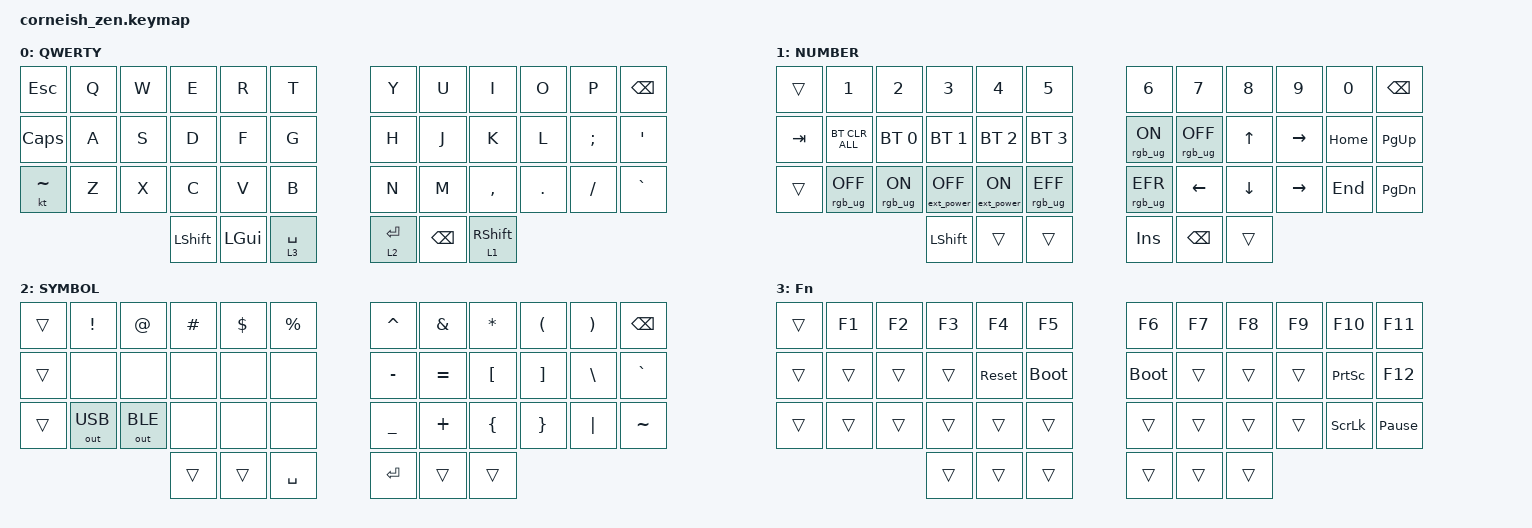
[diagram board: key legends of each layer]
/*
 * Copyright (c) 2020 The ZMK Contributors
 *
 * SPDX-License-Identifier: MIT
 */

#include <behaviors.dtsi>
#include <dt-bindings/zmk/bt.h>
#include <dt-bindings/zmk/ext_power.h>
#include <dt-bindings/zmk/keys.h>
#include <dt-bindings/zmk/keys.h>
#include <dt-bindings/zmk/outputs.h>
#include <dt-bindings/zmk/rgb.h>

/ {
    chosen {
        zmk,matrix_transform = &default_transform;

        // zmk,matrix_transform = &five_column_transform;
    };
};

/ {
    behaviors {
        td0: td0 {
            compatible = "zmk,behavior-tap-dance";
            label = "TD0";
            #binding-cells = <0>;
            bindings = <&kp LEFT_SHIFT>, <&kp CAPS>;
        };
    };

    combos {
        compatible = "zmk,combos";

        leftkuohao {
            bindings = <&kp LEFT_BRACKET>;
            key-positions = <16 15>;
        };

        rightkuohao {
            bindings = <&kp RIGHT_BRACKET>;
            key-positions = <19 20>;
        };

        leftzhong {
            bindings = <&kt LEFT_BRACE>;
            key-positions = <16 14>;
        };

        youda {
            bindings = <&kp RIGHT_BRACE>;
            key-positions = <19 21>;
        };

        dian {
            bindings = <&kp NON_US_BACKSLASH>;
            key-positions = <16 19>;
        };

        jia {
            bindings = <&kp PLUS>;
            key-positions = <19 8>;
        };

        jian {
            bindings = <&kt MINUS>;
            key-positions = <16 3>;
        };
    };

    keymap {
        compatible = "zmk,keymap";

        default_layer {
            display-name = "QWERTY";

            // --------------------------------------------------------------------------------
            // |  TAB |  Q  |  W  |  E  |  R  |  T  |   |  Y  |  U   |  I  |  O  |  P  | BKSP |
            // | CTRL |  A  |  S  |  D  |  F  |  G  |   |  H  |  J   |  K  |  L  |  ;  |  '   | 
            // | SHFT |  Z  |  X  |  C  |  V  |  B  |   |  N  |  M   |  ,  |  .  |  /  | ESC  |
            //                    | GUI | LWR | SPC |   | ENT | RSE  | ALT |

            bindings = <
&kp ESC       &kp Q  &kp W  &kp E           &kp R         &kp T          &kp Y        &kp U          &kp I              &kp O    &kp P     &kp BSPC
&kp CAPSLOCK  &kp A  &kp S  &kp D           &kp F         &kp G          &kp H        &kp J          &kp K              &kp L    &kp SEMI  &kp SQT
&kt TILDE     &kp Z  &kp X  &kp C           &kp V         &kp B          &kp N        &kp M          &kp COMMA          &kp DOT  &kp FSLH  &kp GRAVE
                            &kp LEFT_SHIFT  &kp LEFT_GUI  &lt 3 SPACE    &lt 2 ENTER  &kp BACKSPACE  &lt 1 RIGHT_SHIFT
            >;
        };

        lower_layer {
            display-name = "NUMBER";

            // -----------------------------------------------------------------------------------------
            // |  TAB |  1  |  2  |  3  |  4  |  5  |   |  6  |  7  |  8  |  9  |  0  | BKSP |
            // | BTCLR| BT1 | BT2 | BT3 | BT4 | BT5 |   | LFT | DWN |  UP | RGT |     |      |
            // | SHFT |     |     |     |     |     |   |     |     |     |     |     |      |
            //                    | GUI |     | SPC |   | ENT |     | ALT |

            bindings = <
&trans   &kp N1           &kp N2          &kp N3             &kp N4            &kp N5             &kp N6           &kp N7           &kp N8    &kp N9     &kp N0    &kp BSPC
&kp TAB  &bt BT_CLR_ALL   &bt BT_SEL 0    &bt BT_SEL 1       &bt BT_SEL 2      &bt BT_SEL 3       &rgb_ug RGB_ON   &rgb_ug RGB_OFF  &kp UP    &kp RIGHT  &kp HOME  &kp PG_UP
&trans   &rgb_ug RGB_OFF  &rgb_ug RGB_ON  &ext_power EP_OFF  &ext_power EP_ON  &rgb_ug RGB_EFF    &rgb_ug RGB_EFR  &kp LEFT         &kp DOWN  &kp RIGHT  &kp END   &kp PG_DN
                                          &kp LEFT_SHIFT     &trans            &trans             &kp INS          &kp BACKSPACE    &trans
            >;
        };

        raise_layer {
            display-name = "SYMBOL";

            // -----------------------------------------------------------------------------------------
            // |  TAB |  !  |  @  |  #  |  $  |  %  |   |  ^  |  &  |  *  |  (  |  )  | BKSP |
            // | CTRL |     |     |     |     |     |   |  -  |  =  |  [  |  ]  |  \  |  `   |
            // | SHFT |     |     |     |     |     |   |  _  |  +  |  {  |  }  | "|" |  ~   |
            //                    | GUI |     | SPC |   | ENT |     | ALT |

            bindings = <
&trans  &kp EXCL      &kp AT        &kp HASH  &kp DLLR  &kp PRCNT    &kp CARET  &kp AMPS   &kp ASTRK  &kp LPAR  &kp RPAR  &kp BSPC
&trans  &none         &none         &none     &none     &none        &kp MINUS  &kp EQUAL  &kp LBKT   &kp RBKT  &kp BSLH  &kp GRAVE
&trans  &out OUT_USB  &out OUT_BLE  &none     &none     &none        &kp UNDER  &kp PLUS   &kp LBRC   &kp RBRC  &kp PIPE  &kp TILDE
                                    &trans    &trans    &kp SPACE    &kp RET    &trans     &trans
            >;
        };

        layer_3 {
            display-name = "Fn";
            bindings = <
&trans  &kp F1  &kp F2  &kp F3  &kp F4      &kp F5         &kp F6       &kp F7  &kp F8  &kp F9  &kp F10          &kp F11
&trans  &trans  &trans  &trans  &sys_reset  &bootloader    &bootloader  &trans  &trans  &trans  &kp PRINTSCREEN  &kp F12
&trans  &trans  &trans  &trans  &trans      &trans         &trans       &trans  &trans  &trans  &kp SCROLLLOCK   &kp PAUSE_BREAK
                        &trans  &trans      &trans         &trans       &trans  &trans
            >;
        };
    };
};
